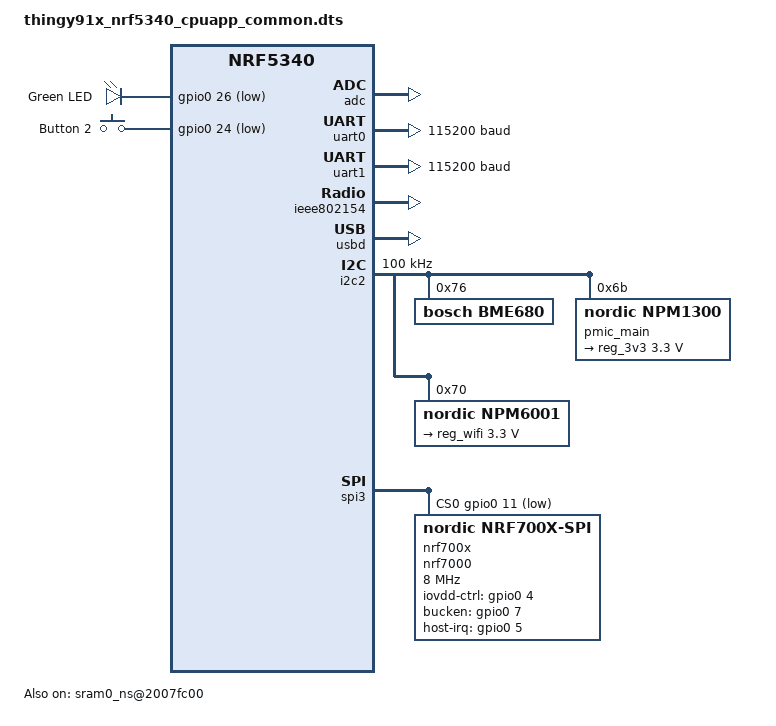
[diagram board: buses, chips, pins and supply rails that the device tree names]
/*
 * Copyright (c) 2019-2020 Nordic Semiconductor ASA
 *
 * SPDX-License-Identifier: Apache-2.0
 */
#include "thingy91x_nrf5340_cpuapp_common-pinctrl.dtsi"
#include <dt-bindings/regulator/npm1300.h>
#include <dt-bindings/regulator/npm6001.h>

/ {

	chosen {
		zephyr,console = &cdc_acm_uart;
		zephyr,shell-uart = &cdc_acm_uart;
		zephyr,uart-mcumgr = &cdc_acm_uart;
		zephyr,bt-mon-uart = &cdc_acm_uart;
		zephyr,bt-c2h-uart = &cdc_acm_uart;
		zephyr,bt-hci-rpmsg-ipc = &ipc0;
		nordic,802154-spinel-ipc = &ipc0;
		zephyr,ieee802154 = &ieee802154;
	};

	leds {
		compatible = "gpio-leds";
		led0: led_0 {
			gpios = <&gpio0 26 GPIO_ACTIVE_LOW>;
			label = "Green LED";
		};
	};

	buttons {
		compatible = "gpio-keys";
		button0: button_0 {
			gpios = <&gpio0 24 (GPIO_PULL_UP | GPIO_ACTIVE_LOW)>;
			label = "Button 2";
		};
	};

	/* These aliases are provided for compatibility with samples */
	aliases {
		led0 = &led0;
		sw0 = &button0;
		bootloader-led0 = &led0;
		mcuboot-button0 = &button0;
		mcuboot-led0 = &led0;
		watchdog0 = &wdt0;
	};

	gpio_fwd {
		compatible = "nordic,nrf-gpio-forwarder";
		nrf5340-bctrl-pins {
			gpios = <&gpio0 4 0>,
				<&gpio0 5 0>,
				<&gpio0 6 0>,
				<&gpio0 7 0>,
				<&gpio0 8 0>,
				<&gpio0 9 0>,
				<&gpio0 14 0>,
				<&gpio0 15 0>,
				<&gpio0 17 0>,
				<&gpio0 20 0>,
				<&gpio0 22 0>,
				<&gpio0 23 0>,
				<&gpio0 28 0>,
				<&gpio1 10 0>,
				<&gpio1 13 0>,
				<&gpio1 15 0>;
		};
	};
};

&adc {
	status = "okay";
};

&gpiote {
	status = "okay";
};

&gpio0 {
	status = "okay";
};

&gpio1 {
	status = "okay";
};

&uart0 {
	status = "okay";
	compatible = "nordic,nrf-uarte";
	current-speed = <115200>;
	pinctrl-0 = <&uart0_default>;
	pinctrl-1 = <&uart0_sleep>;
	pinctrl-names = "default", "sleep";
};

&uart1 {
	status = "okay";
	compatible = "nordic,nrf-uarte";
	current-speed = <115200>;
	pinctrl-0 = <&uart1_default>;
	pinctrl-1 = <&uart1_sleep>;
	pinctrl-names = "default", "sleep";
};

/* This is not the layout that's actually used! It's overriden by Partition Manager. */
&flash0 {

	partitions {
		compatible = "fixed-partitions";
		#address-cells = <1>;
		#size-cells = <1>;

		boot_partition: partition@0 {
			label = "mcuboot";
			reg = <0x00000000 0x00010000>;
		};
		slot0_partition: partition@10000 {
			label = "image-0";
			reg = <0x00010000 0x40000>;
		};
		slot0_ns_partition: partition@50000 {
			label = "image-0-nonsecure";
			reg = <0x00050000 0x30000>;
		};
		slot1_partition: partition@80000 {
			label = "image-1";
			reg = <0x00080000 0x40000>;
		};
		slot1_ns_partition: partition@c0000 {
			label = "image-1-nonsecure";
			reg = <0x000c0000 0x30000>;
		};
		/* 0xf0000 to 0xf7fff reserved for TF-M partitions */
		storage_partition: partition@f8000 {
			label = "storage";
			reg = <0x000f8000 0x00008000>;
		};
	};
};

&ieee802154 {
	status = "okay";
};

zephyr_udc0: &usbd {
	compatible = "nordic,nrf-usbd";
	status = "okay";

	cdc_acm_uart: cdc_acm_uart {
		compatible = "zephyr,cdc-acm-uart";
	};
};

/ {

	reserved-memory {
		#address-cells = <1>;
		#size-cells = <1>;
		ranges;

		sram0_image: image@20000000 {
			/* Zephyr image(s) memory */
			reg = <0x20000000 DT_SIZE_K(448)>;
		};

		sram0_s: image_s@20000000 {
			/* Secure image memory */
			reg = <0x20000000 0x40000>;
		};

		sram0_ns: image_ns@20040000 {
			/* Non-Secure image memory */
			reg = <0x20040000 0x30000>;
		};
	};
};

/ {
	sram0_ns@2007fc00 {
		compatible = "zephyr,memory-region", "mmio-sram";
		reg = <0x2007fc00 DT_SIZE_K(1)>;
		zephyr,memory-region = "RetainedMem";
		status = "okay";

		retainedmem {
			compatible = "zephyr,retained-ram";
			status = "okay";
			#address-cells = <1>;
			#size-cells = <1>;

			boot_mode0: boot_mode@0 {
				compatible = "zephyr,retention";
				status = "okay";
				reg = <0x0 0x100>;
				prefix = [08 04];
				checksum = <1>;
			};
		};
	};


	chosen {
		zephyr,boot-mode = &boot_mode0;
	};
};

&i2c2 {
	compatible = "nordic,nrf-twim";
	status = "okay";
	clock-frequency = <I2C_BITRATE_STANDARD>;

	pinctrl-0 = <&i2c2_default>;
	pinctrl-1 = <&i2c2_sleep>;
	pinctrl-names = "default", "sleep";

	bme680: bme680@76 {
		compatible = "bosch,bme680";
		reg = <0x76>;
	};

	pmic_main: npm1300@6b {
		compatible = "nordic,npm1300";
		reg = <0x6b>;

		gpios_pmic: gpios {
			compatible = "nordic,npm1300-gpio";
			gpio-controller;
			#gpio-cells = <2>;
			ngpios = <5>;
			/* GPIO1 switches power to the short range RF front end */
			ldsw_rf_fe_sr_en: GPIO1 {
				gpio-hog;
				gpios = <1 GPIO_ACTIVE_HIGH>;
				output-high;
			};
		};

		regulators {
			compatible = "nordic,npm1300-regulator";
			/* Main 3.3 V regulator, enabled by GPIO2 (power switch) */
			reg_3v3: BUCK2 {
				regulator-min-microvolt = <3300000>;
				regulator-max-microvolt = <3300000>;
				enable-gpios = <&gpios_pmic 2 GPIO_ACTIVE_HIGH>;
			};
			/* LDO1 is used as a load switch pulling the nPM60 enable line to VSYS */
			ldsw_nPM60_en: LDO1 {
				regulator-allowed-modes = <NPM1300_LDSW_MODE_LDSW>;
				regulator-boot-on;
			};
			/* LDO2 is used as a load switch for sensor power supply */
			ldsw_sensors: LDO2 {
				regulator-allowed-modes = <NPM1300_LDSW_MODE_LDSW>;
				regulator-boot-on;
			};
		};

		charger {
			compatible = "nordic,npm1300-charger";
			vbus-limit-microamp = <500000>;
			/* Battery specs from LiPol LP803448 datasheet (Dwg. nr. FD_3245_70) */
			term-microvolt = <4200000>;
			current-microamp = <675000>; /* 0.5C charging current */
			dischg-limit-microamp = <1340000>; /* Maximum value for PMIC */
			thermistor-cold-millidegrees = <0>;
			thermistor-cool-millidegrees = <0>;
			thermistor-warm-millidegrees = <45000>;
			thermistor-hot-millidegrees = <45000>;
			thermistor-ohms = <10000>;
			thermistor-beta = <3435>;
			charging-enable;
		};
	};

	pmic_wifi: npm6001@70 {
		compatible = "nordic,npm6001";
		label = "nPM6001";
		reg = <0x70>;

		regulators {
			compatible = "nordic,npm6001-regulator";
			/* Dedicated 3.3 V regulator for nRF70 */
			reg_wifi: BUCK3 {
				regulator-min-microvolt = <3300000>;
				regulator-max-microvolt = <3300000>;
				regulator-initial-mode = <NPM6001_MODE_PWM>;
				regulator-boot-on;
			};
		};
	};
};

&spi3 {
	compatible = "nordic,nrf-spim";
	status = "okay";
	cs-gpios = <&gpio0 11 GPIO_ACTIVE_LOW>;

	pinctrl-0 = <&spi3_default>;
	pinctrl-1 = <&spi3_sleep>;
	pinctrl-names = "default", "sleep";

	nrf700x: nrf7000@0 {
		compatible = "nordic,nrf700x-spi";
		status = "okay";
		reg = <0>;
		spi-max-frequency = <DT_FREQ_M(8)>;

		iovdd-ctrl-gpios = <&gpio0 4 (GPIO_ACTIVE_HIGH | GPIO_PULL_DOWN)>;
		bucken-gpios = <&gpio0 7 (GPIO_ACTIVE_HIGH | GPIO_PULL_DOWN)>;
		host-irq-gpios = <&gpio0 5 GPIO_ACTIVE_HIGH>;
	};

};

/* Include partition configuration file */
#include "nrf5340_shared_sram_planning_conf.dts"
